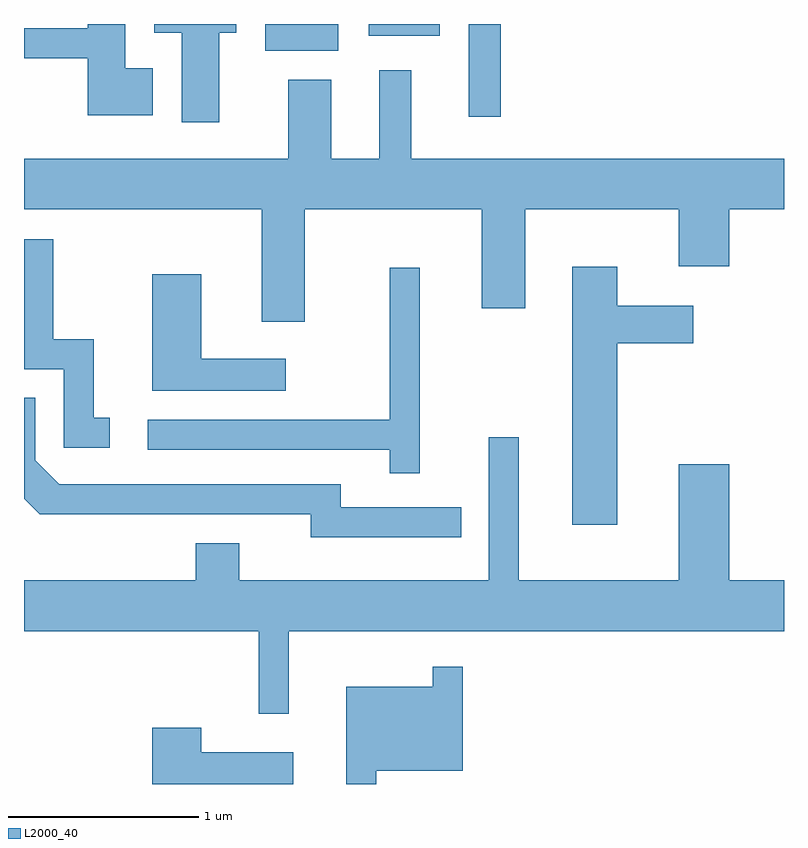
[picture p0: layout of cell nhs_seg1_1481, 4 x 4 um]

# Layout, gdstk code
import gdstk
lib = gdstk.Library(unit=1e-6, precision=1e-09)
def R(c, l, rs):  # rectangles x0, y0, x1, y1
    for r in rs: c.add(gdstk.rectangle(r[:2], r[2:], *l))
def P(c, l, *ps):  # polygons
    for p in ps: c.add(gdstk.Polygon(p, *l))
L2000_40 = (2000, 40)

nhs_seg1_1481 = lib.new_cell('nhs_seg1_1481')
R(nhs_seg1_1481, L2000_40, [(233.951,851.223,234.119,851.712), (232.881,851.571,233.264,851.712), (233.426,851.651,233.799,851.712)])
P(nhs_seg1_1481, L2000_40, [(232.639,851.666),(232.729,851.666),(232.729,851.712),(232.296,851.712),(232.296,851.666),(232.441,851.666),(232.441,851.196),(232.639,851.196)],
  [(232.289,851.479),(232.144,851.479),(232.144,851.712),(231.946,851.712),(231.946,851.689),(231.611,851.689),(231.611,851.531),(231.946,851.531),(231.946,851.231),(232.289,851.231)],
  [(233.089,850.736),(234.021,850.736),(234.021,850.216),(234.249,850.216),(234.249,850.736),(235.056,850.736),(235.056,850.436),(235.324,850.436),(235.324,850.736),(235.611,850.736),(235.611,851.004),(233.649,851.004),(233.649,851.468),(233.481,851.468),(233.481,851.004),(233.229,851.004),(233.229,851.419),(233.001,851.419),(233.001,851.004),(231.611,851.004),(231.611,850.736),(232.861,850.736),(232.861,850.146),(233.089,850.146)],
  [(232.063,849.639),(231.979,849.639),(231.979,850.054),(231.764,850.054),(231.764,850.579),(231.611,850.579),(231.611,849.896),(231.821,849.896),(231.821,849.481),(232.063,849.481)],
  [(234.734,850.031),(235.134,850.031),(235.134,850.229),(234.734,850.229),(234.734,850.434),(234.496,850.434),(234.496,849.076),(234.734,849.076)],
  [(233.694,850.428),(233.536,850.428),(233.536,849.629),(232.263,849.629),(232.263,849.471),(233.536,849.471),(233.536,849.348),(233.694,849.348)],
  [(232.988,849.949),(232.544,849.949),(232.544,850.394),(232.286,850.394),(232.286,849.781),(232.988,849.781)],
  [(233.913,849.169),(233.279,849.169),(233.279,849.289),(231.797,849.289),(231.669,849.417),(231.669,849.744),(231.611,849.744),(231.611,849.214),(231.694,849.131),(233.121,849.131),(233.121,849.011),(233.913,849.011)],
  [(233.004,848.516),(235.611,848.516),(235.611,848.784),(235.324,848.784),(235.324,849.394),(235.056,849.394),(235.056,848.784),(234.214,848.784),(234.214,849.538),(234.056,849.538),(234.056,848.784),(232.744,848.784),(232.744,848.979),(232.516,848.979),(232.516,848.784),(231.611,848.784),(231.611,848.516),(232.846,848.516),(232.846,848.083),(233.004,848.083)],
  [(233.464,847.781),(233.919,847.781),(233.919,848.328),(233.761,848.328),(233.761,848.224),(233.306,848.224),(233.306,847.712),(233.464,847.712)],
  [(233.029,847.879),(232.544,847.879),(232.544,848.009),(232.286,848.009),(232.286,847.712),(233.029,847.712)])

lib.write_gds('nhs_seg1_1481.gds')
